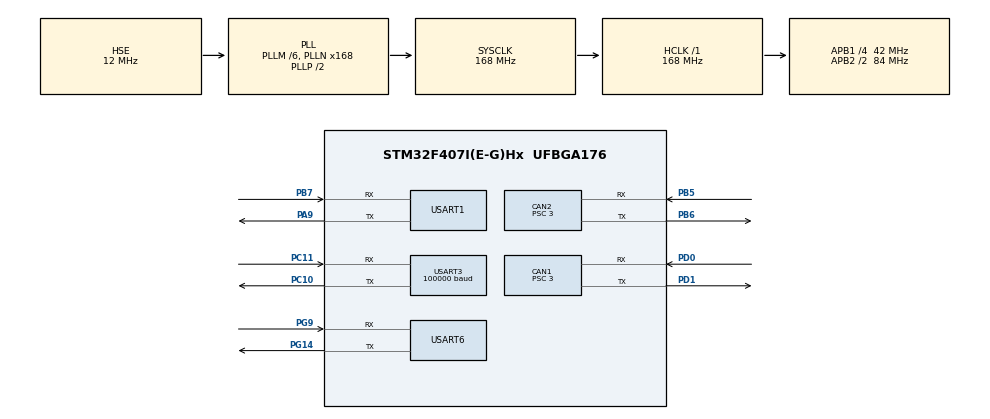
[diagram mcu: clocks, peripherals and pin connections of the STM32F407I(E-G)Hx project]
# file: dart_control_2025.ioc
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CAN1.BS1=CAN_BS1_10TQ
CAN1.BS2=CAN_BS2_3TQ
CAN1.CalculateBaudRate=1000000
CAN1.CalculateTimeBit=1000
CAN1.CalculateTimeQuantum=71.42857142857143
CAN1.Prescaler=3
CAN2.BS1=CAN_BS1_10TQ
CAN2.BS2=CAN_BS2_3TQ
CAN2.CalculateBaudRate=1000000
CAN2.CalculateTimeBit=1000
CAN2.CalculateTimeQuantum=71.42857142857143
CAN2.Prescaler=3
Dma.Request0=USART3_RX
Dma.Request1=USART1_TX
Dma.USART1_TX.1.Direction=DMA_MEMORY_TO_PERIPH
Dma.USART1_TX.1.FIFOMode=DMA_FIFOMODE_DISABLE
Dma.USART1_TX.1.Instance=DMA2_Stream7
Dma.USART1_TX.1.MemDataAlignment=DMA_MDATAALIGN_BYTE
Dma.USART1_TX.1.MemInc=DMA_MINC_ENABLE
Dma.USART1_TX.1.Mode=DMA_NORMAL
Dma.USART1_TX.1.PeriphDataAlignment=DMA_PDATAALIGN_BYTE
Dma.USART1_TX.1.PeriphInc=DMA_PINC_DISABLE
Dma.USART1_TX.1.Priority=DMA_PRIORITY_VERY_HIGH
Dma.USART3_RX.0.Direction=DMA_PERIPH_TO_MEMORY
Dma.USART3_RX.0.FIFOMode=DMA_FIFOMODE_DISABLE
Dma.USART3_RX.0.Instance=DMA1_Stream1
Dma.USART3_RX.0.MemDataAlignment=DMA_MDATAALIGN_BYTE
Dma.USART3_RX.0.MemInc=DMA_MINC_ENABLE
Dma.USART3_RX.0.Mode=DMA_NORMAL
Dma.USART3_RX.0.PeriphDataAlignment=DMA_PDATAALIGN_BYTE
Dma.USART3_RX.0.PeriphInc=DMA_PINC_DISABLE
Dma.USART3_RX.0.Priority=DMA_PRIORITY_VERY_HIGH
Mcu.Family=STM32F4
Mcu.Name=STM32F407I(E-G)Hx
Mcu.Package=UFBGA176
NVIC.CAN1_RX0_IRQn=true\:0\:0\:false\:false\:true\:true\:true\:true
NVIC.CAN2_RX1_IRQn=true\:0\:0\:false\:false\:true\:true\:true\:true
NVIC.DMA1_Stream1_IRQn=true\:0\:0\:false\:false\:true\:false\:true\:true
NVIC.DMA2_Stream7_IRQn=true\:0\:0\:false\:false\:true\:false\:true\:true
NVIC.PriorityGroup=NVIC_PRIORITYGROUP_4
NVIC.USART3_IRQn=true\:0\:0\:false\:false\:true\:true\:true\:true
PA13.Mode=Serial_Wire
PA13.Signal=SYS_JTMS-SWDIO
PA14.Mode=Serial_Wire
PA14.Signal=SYS_JTCK-SWCLK
PA9.Mode=Asynchronous
PA9.Signal=USART1_TX
PB5.Mode=CAN_Activate
PB5.Signal=CAN2_RX
PB6.Mode=CAN_Activate
PB6.Signal=CAN2_TX
PB7.Mode=Asynchronous
PB7.Signal=USART1_RX
PC10.Mode=Asynchronous
PC10.Signal=USART3_TX
PC11.Mode=Asynchronous
PC11.Signal=USART3_RX
PD0.Mode=CAN_Activate
PD0.Signal=CAN1_RX
PD1.Mode=CAN_Activate
PD1.Signal=CAN1_TX
PG14.Mode=Asynchronous
PG14.Signal=USART6_TX
PG9.Mode=Asynchronous
PG9.Signal=USART6_RX
PH0-OSC_IN.Mode=HSE-External-Oscillator
PH0-OSC_IN.Signal=RCC_OSC_IN
PH1-OSC_OUT.Mode=HSE-External-Oscillator
PH1-OSC_OUT.Signal=RCC_OSC_OUT
ProjectManager.HeapSize=0x200
ProjectManager.StackSize=0x400
ProjectManager.TargetToolchain=STM32CubeIDE
RCC.48MHZClocksFreq_Value=84000000
RCC.AHBFreq_Value=168000000
RCC.APB1CLKDivider=RCC_HCLK_DIV4
RCC.APB1Freq_Value=42000000
RCC.APB1TimFreq_Value=84000000
RCC.APB2CLKDivider=RCC_HCLK_DIV2
RCC.APB2Freq_Value=84000000
RCC.APB2TimFreq_Value=168000000
RCC.CortexFreq_Value=168000000
RCC.HCLKFreq_Value=168000000
RCC.HSE_VALUE=12000000
RCC.HSI_VALUE=16000000
RCC.LSE_VALUE=32768
RCC.PLLM=6
RCC.PLLN=168
RCC.PLLSourceVirtual=RCC_PLLSOURCE_HSE
RCC.SYSCLKFreq_VALUE=168000000
RCC.SYSCLKSource=RCC_SYSCLKSOURCE_PLLCLK
RCC.VCOOutputFreq_Value=336000000
USART1.VirtualMode=VM_ASYNC
USART3.BaudRate=100000
USART3.Parity=PARITY_EVEN
USART3.VirtualMode=VM_ASYNC
USART6.VirtualMode=VM_ASYNC
board=custom

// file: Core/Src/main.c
/* USER CODE BEGIN Header */
/**
  ******************************************************************************
  * @file           : main.c
  * @brief          : Main program body
  ******************************************************************************
  * @attention
  *
  * Copyright (c) 2024 STMicroelectronics.
  * All rights reserved.
  *
  * This software is licensed under terms that can be found in the LICENSE file
  * in the root directory of this software component.
  * If no LICENSE file comes with this software, it is provided AS-IS.
  *
  ******************************************************************************
  */
/* USER CODE END Header */
#include "main.h"
#include "can.h"
#include "dma.h"
#include "usart.h"
#include "gpio.h"

/* USER CODE BEGIN Includes */
#include "../../User/User_Driver/Inc/io.h"
#include "../../User/User_Driver/Inc/remote.h"
#include "../../User/User_Driver/Inc/can_receive.h"
#include "../../User/User_Driver/Inc/pid.h"
/* USER CODE END Includes */

/* USER CODE BEGIN PD */
#define BUFFER_SIZE 256
/* USER CODE END PD */

void SystemClock_Config(void);

/* USER CODE BEGIN 0 */
void Draw_ResponseCurve(UART_HandleTypeDef *huart, void *data, uint32_t size)
{
    uint8_t cmdf[2] = {3, ~3};
    uint8_t cmdr[2] = {~3, 3};
    HAL_UART_Transmit(huart, (uint8_t *)cmdf, sizeof(cmdf), 100);
    HAL_UART_Transmit(huart, (uint8_t *)data, size, 100);
    HAL_UART_Transmit(huart, (uint8_t *)cmdr, sizeof(cmdr), 100);
}

/* USER CODE END 0 */

int main(void)
{

  /* MCU Configuration--------------------------------------------------------*/

  /* Reset of all peripherals, Initializes the Flash interface and the Systick. */
  HAL_Init();

  /* Configure the system clock */
  SystemClock_Config();

  /* Initialize all configured peripherals */
  MX_GPIO_Init();
  MX_DMA_Init();
  MX_CAN1_Init();
  MX_CAN2_Init();
  MX_USART3_UART_Init();
  MX_USART6_UART_Init();
  MX_USART1_UART_Init();
  /* USER CODE BEGIN 2 */
  PID_Regulator_t pid_regulator;
  UART_DMA_DualBuffer_Init(&huart3, ENABLE, teleData_Rx[0], teleData_Rx[1], RC_DATA_LENGTH);
  PID_Init(&pid_regulator, PID_DELTA, 15000, 1000, 1, 0.7, 0.1);
  extern motor_measure_t motor_supply;
  int16_t data[2];
  int16_t target_speed = 0;
  int16_t debug_time = 0;
  CAN1_Init();
  CAN2_Init();

  /* USER CODE END 2 */

  /* Infinite loop */
  while (1)
  {
      int16_t current_speed = motor_supply.speed_rpm;
   //   float motor_speed = PID_Calculate(&pid_regulator, motor_supply.speed_rpm, target_speed);
      data[0] = motor_supply.speed_rpm;
 //     data[1] = target_speed;
    data[1] = rc_ctrl.rc.ch[0];
      Draw_ResponseCurve(&huart1, data, sizeof(data));
    float motor_speed = PID_Calculate(&pid_regulator, motor_supply.speed_rpm,rc_ctrl.rc.ch[0]);
      CAN_CMD_Supply(motor_speed);

      HAL_Delay(1);

    /* USER CODE END WHILE */

  }
}

void SystemClock_Config(void)
{
  RCC_OscInitTypeDef RCC_OscInitStruct = {0};
  RCC_ClkInitTypeDef RCC_ClkInitStruct = {0};

  /** Configure the main internal regulator output voltage
  */
  __HAL_RCC_PWR_CLK_ENABLE();
  __HAL_PWR_VOLTAGESCALING_CONFIG(PWR_REGULATOR_VOLTAGE_SCALE1);

  /** Initializes the RCC Oscillators according to the specified parameters
  * in the RCC_OscInitTypeDef structure.
  */
  RCC_OscInitStruct.OscillatorType = RCC_OSCILLATORTYPE_HSE;
  RCC_OscInitStruct.HSEState = RCC_HSE_ON;
  RCC_OscInitStruct.PLL.PLLState = RCC_PLL_ON;
  RCC_OscInitStruct.PLL.PLLSource = RCC_PLLSOURCE_HSE;
  RCC_OscInitStruct.PLL.PLLM = 6;
  RCC_OscInitStruct.PLL.PLLN = 168;
  RCC_OscInitStruct.PLL.PLLP = RCC_PLLP_DIV2;
  RCC_OscInitStruct.PLL.PLLQ = 4;
  if (HAL_RCC_OscConfig(&RCC_OscInitStruct) != HAL_OK)
  {
    Error_Handler();
  }

  /** Initializes the CPU, AHB and APB buses clocks
  */
  RCC_ClkInitStruct.ClockType = RCC_CLOCKTYPE_HCLK|RCC_CLOCKTYPE_SYSCLK
                              |RCC_CLOCKTYPE_PCLK1|RCC_CLOCKTYPE_PCLK2;
  RCC_ClkInitStruct.SYSCLKSource = RCC_SYSCLKSOURCE_PLLCLK;
  RCC_ClkInitStruct.AHBCLKDivider = RCC_SYSCLK_DIV1;
  RCC_ClkInitStruct.APB1CLKDivider = RCC_HCLK_DIV4;
  RCC_ClkInitStruct.APB2CLKDivider = RCC_HCLK_DIV2;

  if (HAL_RCC_ClockConfig(&RCC_ClkInitStruct, FLASH_LATENCY_5) != HAL_OK)
  {
    Error_Handler();
  }
}

void Error_Handler(void)
{
  __disable_irq();
  while (1)
  {
  }
}
